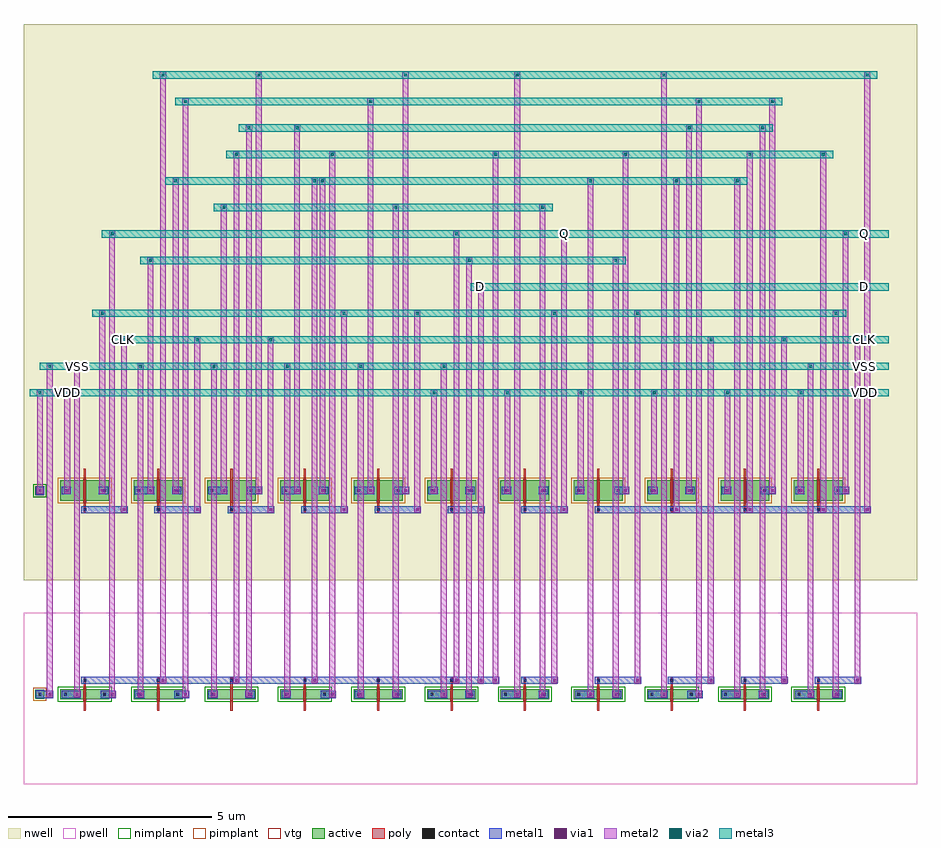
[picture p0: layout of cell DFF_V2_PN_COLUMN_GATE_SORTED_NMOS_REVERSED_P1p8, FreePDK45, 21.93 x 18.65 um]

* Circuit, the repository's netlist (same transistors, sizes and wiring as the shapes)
* cell DFF_V2_PN_COLUMN_GATE_SORTED_NMOS_REVERSED_P1p8
* pin D,Q
* pin CLK
* pin VDD
* pin VSS
.SUBCKT DFF_V2_PN_COLUMN_GATE_SORTED_NMOS_REVERSED_P1p8 4 5 8 9
* net 4 D,Q
* net 5 CLK
* net 8 VDD
* net 9 VSS
* device instance $1 r0 *1 19.2,7 PMOS_VTG
M$1 4 4 8 8 PMOS_VTG L=0.05U W=1U AS=0.575P AD=0.575P PS=4.3U PD=4.3U
* device instance $2 r0 *1 17.4,7 PMOS_VTG
M$2 1 4 8 8 PMOS_VTG L=0.05U W=0.5U AS=0.2875P AD=0.2875P PS=2.15U PD=2.15U
* device instance $3 r0 *1 15.6,7 PMOS_VTG
M$3 2 4 8 8 PMOS_VTG L=0.05U W=0.5U AS=0.2875P AD=0.2875P PS=2.15U PD=2.15U
* device instance $5 r0 *1 12,7 PMOS_VTG
M$5 7 4 8 8 PMOS_VTG L=0.05U W=0.5U AS=0.2875P AD=0.2875P PS=2.15U PD=2.15U
* device instance $6 r0 *1 1.2,7 PMOS_VTG
M$6 6 5 8 8 PMOS_VTG L=0.05U W=0.5U AS=0.2875P AD=0.2875P PS=2.15U PD=2.15U
* device instance $7 r0 *1 10.2,7 PMOS_VTG
M$7 3 4 8 8 PMOS_VTG L=0.05U W=0.5U AS=0.2875P AD=0.2875P PS=2.15U PD=2.15U
* device instance $8 r0 *1 3,7 PMOS_VTG
M$8 4 5 3 8 PMOS_VTG L=0.05U W=0.5U AS=0.2875P AD=0.2875P PS=2.15U PD=2.15U
* device instance $9 r0 *1 4.8,7 PMOS_VTG
M$9 4 5 7 8 PMOS_VTG L=0.05U W=0.5U AS=0.2875P AD=0.2875P PS=2.15U PD=2.15U
* device instance $10 r0 *1 6.6,7 PMOS_VTG
M$10 4 6 2 8 PMOS_VTG L=0.05U W=0.5U AS=0.2875P AD=0.2875P PS=2.15U PD=2.15U
* device instance $11 r0 *1 8.4,7 PMOS_VTG
M$11 4 6 1 8 PMOS_VTG L=0.05U W=0.5U AS=0.2875P AD=0.2875P PS=2.15U PD=2.15U
* device instance $12 r0 *1 19.2,2 NMOS_VTG
M$12 6 5 9 9 NMOS_VTG L=0.05U W=0.25U AS=0.14375P AD=0.14375P PS=1.65U PD=1.65U
* device instance $13 r0 *1 15.6,2 NMOS_VTG
M$13 1 5 4 9 NMOS_VTG L=0.05U W=0.25U AS=0.14375P AD=0.14375P PS=1.65U PD=1.65U
* device instance $14 r0 *1 13.8,2 NMOS_VTG
M$14 3 6 4 9 NMOS_VTG L=0.05U W=0.25U AS=0.14375P AD=0.14375P PS=1.65U PD=1.65U
* device instance $15 r0 *1 12,2 NMOS_VTG
M$15 7 6 4 9 NMOS_VTG L=0.05U W=0.25U AS=0.14375P AD=0.14375P PS=1.65U PD=1.65U
* device instance $16 r0 *1 1.2,2 NMOS_VTG
M$16 4 4 9 9 NMOS_VTG L=0.05U W=0.5U AS=0.2875P AD=0.2875P PS=3.3U PD=3.3U
* device instance $17 r0 *1 17.4,2 NMOS_VTG
M$17 2 5 4 9 NMOS_VTG L=0.05U W=0.25U AS=0.14375P AD=0.14375P PS=1.65U PD=1.65U
* device instance $19 r0 *1 3,2 NMOS_VTG
M$19 1 4 9 9 NMOS_VTG L=0.05U W=0.25U AS=0.14375P AD=0.14375P PS=1.65U PD=1.65U
* device instance $20 r0 *1 10.2,2 NMOS_VTG
M$20 3 4 9 9 NMOS_VTG L=0.05U W=0.25U AS=0.14375P AD=0.14375P PS=1.65U PD=1.65U
* device instance $21 r0 *1 4.8,2 NMOS_VTG
M$21 2 4 9 9 NMOS_VTG L=0.05U W=0.25U AS=0.14375P AD=0.14375P PS=1.65U PD=1.65U
* device instance $22 r0 *1 8.4,2 NMOS_VTG
M$22 7 4 9 9 NMOS_VTG L=0.05U W=0.25U AS=0.14375P AD=0.14375P PS=1.65U PD=1.65U
.ENDS DFF_V2_PN_COLUMN_GATE_SORTED_NMOS_REVERSED_P1p8

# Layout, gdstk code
import gdstk
lib = gdstk.Library(unit=1e-6, precision=5e-10)
def R(c, l, rs):  # rectangles x0, y0, x1, y1
    for r in rs: c.add(gdstk.rectangle(r[:2], r[2:], *l))
def A(c, l, x, y, w, h, nx, ny, dx, dy):  # array of equal rectangles
    R(c, l, [(x+i*dx, y+j*dy, x+i*dx+w, y+j*dy+h) for i in range(nx) for j in range(ny)])
active = (1, 0)
pwell = (2, 0)
nwell = (3, 0)
nimplant = (4, 0)
pimplant = (5, 0)
vtg = (6, 0)
poly = (9, 0)
contact = (10, 0)
metal1 = (11, 0)
via1 = (12, 0)
metal2 = (13, 0)
via2 = (14, 0)
metal3 = (15, 0)

dff_v2_pn_column_gate_so = lib.new_cell('DFF_V2_PN_COLUMN_GATE_SORTED_NMOS_REVERSED_P1p8')
A(dff_v2_pn_column_gate_so, active, 0.6, 1.875, 1.2, 0.25, 11, 1, 1.8, 0)
A(dff_v2_pn_column_gate_so, active, 0.6, 6.75, 1.2, 0.5, 11, 1, 1.8, 0)
R(dff_v2_pn_column_gate_so, active, [(-0.01,1.89,0.21,2.11), (-0.01,6.89,0.21,7.11)])
R(dff_v2_pn_column_gate_so, pwell, [(-0.3,-0.2,21.63,4)])
R(dff_v2_pn_column_gate_so, nwell, [(-0.3,4.8,21.63,18.45)])
A(dff_v2_pn_column_gate_so, nimplant, 0.54, 1.815, 1.32, 0.37, 11, 1, 1.8, 0)
R(dff_v2_pn_column_gate_so, nimplant, [(-0.06,6.84,0.26,7.16)])
A(dff_v2_pn_column_gate_so, pimplant, 0.54, 6.69, 1.32, 0.62, 11, 1, 1.8, 0)
R(dff_v2_pn_column_gate_so, pimplant, [(-0.06,1.84,0.26,2.16)])
A(dff_v2_pn_column_gate_so, vtg, 1.165, 1.845, 0.07, 0.31, 11, 1, 1.8, 0)
A(dff_v2_pn_column_gate_so, vtg, 1.165, 6.72, 0.07, 0.56, 11, 1, 1.8, 0)
A(dff_v2_pn_column_gate_so, poly, 1.175, 1.595, 0.05, 0.81, 11, 1, 1.8, 0)
A(dff_v2_pn_column_gate_so, poly, 1.175, 6.47, 0.05, 1.06, 11, 1, 1.8, 0)
A(dff_v2_pn_column_gate_so, contact, 1.17, 2.315, 0.065, 0.065, 11, 2, 1.8, 4.185)
R(dff_v2_pn_column_gate_so, contact, [(0.07,1.97,0.135,2.035), (0.69,1.97,0.755,2.035), (1.65,1.97,1.715,2.035), (2.49,1.97,2.555,2.035), (3.45,1.97,3.515,2.035), (4.29,1.97,4.355,2.035), (5.25,1.97,5.315,2.035), (6.09,1.97,6.155,2.035), (7.05,1.97,7.115,2.035), (7.89,1.97,7.955,2.035), (8.85,1.97,8.915,2.035), (9.69,1.97,9.755,2.035), (10.65,1.97,10.715,2.035), (11.49,1.97,11.555,2.035), (12.45,1.97,12.515,2.035), (13.29,1.97,13.355,2.035), (14.25,1.97,14.315,2.035), (15.09,1.97,15.155,2.035), (16.05,1.97,16.115,2.035), (16.89,1.97,16.955,2.035), (17.85,1.97,17.915,2.035), (18.69,1.97,18.755,2.035), (19.65,1.97,19.715,2.035), (0.07,6.97,0.135,7.035), (0.69,6.97,0.755,7.035), (1.65,6.97,1.715,7.035), (2.49,6.97,2.555,7.035), (3.45,6.97,3.515,7.035), (4.29,6.97,4.355,7.035), (5.25,6.97,5.315,7.035), (6.09,6.97,6.155,7.035), (7.05,6.97,7.115,7.035), (7.89,6.97,7.955,7.035), (8.85,6.97,8.915,7.035), (9.69,6.97,9.755,7.035), (10.65,6.97,10.715,7.035), (11.49,6.97,11.555,7.035), (12.45,6.97,12.515,7.035), (13.29,6.97,13.355,7.035), (14.25,6.97,14.315,7.035), (15.09,6.97,15.155,7.035), (16.05,6.97,16.115,7.035), (16.89,6.97,16.955,7.035), (17.85,6.97,17.915,7.035), (18.69,6.97,18.755,7.035), (19.65,6.97,19.715,7.035)])
A(dff_v2_pn_column_gate_so, metal1, 9.77, 1.91, 0.24, 0.18, 4, 1, 1.8, 0)
A(dff_v2_pn_column_gate_so, metal1, 11.19, 2.255, 0.18, 0.18, 3, 1, 0.72, 0)
A(dff_v2_pn_column_gate_so, metal1, 13.8, 2.255, 0.96, 0.18, 4, 1, 1.8, 0)
A(dff_v2_pn_column_gate_so, metal1, 1.2, 6.44, 0.96, 0.18, 5, 1, 1.8, 0)
A(dff_v2_pn_column_gate_so, metal1, 13.8, 6.44, 1.92, 0.18, 3, 1, 1.8, 0)
R(dff_v2_pn_column_gate_so, metal1, [(0,1.9,0.2,2.1), (0.1,1.91,0.34,2.09), (0.1,1.91,0.34,2.09), (0.1,1.91,0.34,2.09), (0.1,1.91,0.34,2.09), (0.1,1.91,0.34,2.09), (0.1,1.91,0.34,2.09), (0.1,1.91,0.34,2.09), (0.1,1.91,0.34,2.09), (0.1,1.91,0.34,2.09), (0.1,1.91,0.34,2.09), (0.1,1.91,0.34,2.09), (0.1,1.91,0.34,2.09), (0.25,1.91,0.43,2.09), (0.25,1.91,0.43,2.09), (0.25,1.91,0.43,2.09), (0.25,1.91,0.43,2.09), (0.25,1.91,0.43,2.09), (0.25,1.91,0.43,2.09), (0.25,1.91,0.43,2.09), (0.25,1.91,0.43,2.09), (0.25,1.91,0.43,2.09), (0.25,1.91,0.43,2.09), (0.25,1.91,0.43,2.09), (0.25,1.91,0.43,2.09), (0.63,1.91,0.81,2.09), (0.77,1.91,1.01,2.09), (0.92,1.91,1.1,2.09), (1.59,1.91,1.77,2.09), (1.63,1.91,1.87,2.09), (1.78,1.91,1.96,2.09), (2.43,1.91,2.61,2.09), (2.48,1.91,2.66,2.09), (3.39,1.91,3.57,2.09), (3.43,1.91,3.67,2.09), (3.58,1.91,3.76,2.09), (4.23,1.91,4.41,2.09), (4.28,1.91,4.46,2.09), (5.14,1.91,5.32,2.09), (5.19,1.91,5.37,2.09), (6.03,1.91,6.21,2.09), (6.08,1.91,6.26,2.09), (6.99,1.91,7.17,2.09), (7.03,1.91,7.27,2.09), (7.18,1.91,7.36,2.09), (7.83,1.91,8.01,2.09), (7.88,1.91,8.06,2.09), (8.74,1.91,8.92,2.09), (8.79,1.91,8.97,2.09), (9.63,1.91,9.81,2.09), (9.92,1.91,10.1,2.09), (10.54,1.91,10.72,2.09), (10.59,1.91,10.77,2.09), (11.43,1.91,11.61,2.09), (11.72,1.91,11.9,2.09), (12.34,1.91,12.52,2.09), (12.39,1.91,12.57,2.09), (13.23,1.91,13.41,2.09), (13.52,1.91,13.7,2.09), (14.14,1.91,14.32,2.09), (14.19,1.91,14.37,2.09), (15.03,1.91,15.21,2.09), (15.32,1.91,15.5,2.09), (15.99,1.91,16.17,2.09), (16.03,1.91,16.27,2.09), (16.18,1.91,16.36,2.09), (16.83,1.91,17.01,2.09), (16.97,1.91,17.21,2.09), (17.12,1.91,17.3,2.09), (17.74,1.91,17.92,2.09), (17.79,1.91,17.97,2.09), (18.63,1.91,18.81,2.09), (18.77,1.91,19.01,2.09), (18.92,1.91,19.1,2.09), (19.54,1.91,19.72,2.09), (19.59,1.91,19.77,2.09), (1.11,2.255,1.29,2.435), (1.2,2.255,3.12,2.435), (2.91,2.255,3.09,2.435), (3,2.255,4.92,2.435), (3.03,2.255,3.21,2.435), (4.71,2.255,4.89,2.435), (4.8,2.255,11.28,2.435), (4.83,2.255,5.01,2.435), (6.51,2.255,6.69,2.435), (6.6,2.255,6.84,2.435), (6.75,2.255,6.93,2.435), (8.31,2.255,8.49,2.435), (8.4,2.255,10.32,2.435), (10.11,2.255,10.29,2.435), (10.2,2.255,10.92,2.435), (10.23,2.255,10.41,2.435), (10.83,2.255,11.01,2.435), (12,2.255,12.72,2.435), (13.71,2.255,13.89,2.435), (14.67,2.255,14.85,2.435), (15.51,2.255,15.69,2.435), (16.47,2.255,16.65,2.435), (17.31,2.255,17.49,2.435), (18.27,2.255,18.45,2.435), (19.11,2.255,19.29,2.435), (20.07,2.255,20.25,2.435), (1.11,6.44,1.29,6.62), (2.07,6.44,2.25,6.62), (2.91,6.44,3.09,6.62), (3.87,6.44,4.05,6.62), (4.71,6.44,4.89,6.62), (5.67,6.44,5.85,6.62), (6.51,6.44,6.69,6.62), (7.47,6.44,7.65,6.62), (8.31,6.44,8.49,6.62), (9.27,6.44,9.45,6.62), (10.11,6.44,10.29,6.62), (10.2,6.44,10.92,6.62), (10.83,6.44,11.01,6.62), (11.91,6.44,12.09,6.62), (12,6.44,12.96,6.62), (12.87,6.44,13.05,6.62), (13.71,6.44,13.89,6.62), (15.51,6.44,15.69,6.62), (15.63,6.44,15.81,6.62), (17.31,6.44,17.49,6.62), (17.43,6.44,17.61,6.62), (19.11,6.44,19.29,6.62), (19.2,6.44,20.4,6.62), (19.23,6.44,19.41,6.62), (20.31,6.44,20.49,6.62), (0,6.9,0.2,7.1), (0.01,6.91,0.19,7.09), (0.01,6.91,0.19,7.09), (0.01,6.91,0.19,7.09), (0.01,6.91,0.19,7.09), (0.01,6.91,0.19,7.09), (0.01,6.91,0.19,7.09), (0.01,6.91,0.19,7.09), (0.01,6.91,0.19,7.09), (0.01,6.91,0.19,7.09), (0.01,6.91,0.19,7.09), (0.01,6.91,0.19,7.09), (0.01,6.91,0.19,7.09), (0.63,6.91,0.81,7.09), (0.68,6.91,0.86,7.09), (1.54,6.91,1.72,7.09), (1.59,6.91,1.77,7.09), (2.43,6.91,2.61,7.09), (2.57,6.91,2.81,7.09), (2.72,6.91,2.9,7.09), (3.34,6.91,3.52,7.09), (3.39,6.91,3.57,7.09), (4.23,6.91,4.41,7.09), (4.37,6.91,4.61,7.09), (4.52,6.91,4.7,7.09), (5.19,6.91,5.37,7.09), (5.23,6.91,5.47,7.09), (5.38,6.91,5.56,7.09), (6.03,6.91,6.21,7.09), (6.17,6.91,6.41,7.09), (6.32,6.91,6.5,7.09), (6.94,6.91,7.12,7.09), (6.99,6.91,7.17,7.09), (7.83,6.91,8.01,7.09), (7.97,6.91,8.21,7.09), (8.12,6.91,8.3,7.09), (8.79,6.91,8.97,7.09), (8.83,6.91,9.07,7.09), (8.98,6.91,9.16,7.09), (9.63,6.91,9.81,7.09), (9.68,6.91,9.86,7.09), (10.54,6.91,10.72,7.09), (10.59,6.91,10.77,7.09), (11.43,6.91,11.61,7.09), (11.48,6.91,11.66,7.09), (12.34,6.91,12.52,7.09), (12.39,6.91,12.57,7.09), (13.23,6.91,13.41,7.09), (13.28,6.91,13.46,7.09), (14.19,6.91,14.37,7.09), (14.23,6.91,14.47,7.09), (14.38,6.91,14.56,7.09), (15.03,6.91,15.21,7.09), (15.08,6.91,15.26,7.09), (15.94,6.91,16.12,7.09), (15.99,6.91,16.17,7.09), (16.83,6.91,17.01,7.09), (16.88,6.91,17.06,7.09), (17.79,6.91,17.97,7.09), (17.83,6.91,18.07,7.09), (17.98,6.91,18.16,7.09), (18.63,6.91,18.81,7.09), (18.68,6.91,18.86,7.09), (19.59,6.91,19.77,7.09), (19.63,6.91,19.87,7.09), (19.78,6.91,19.96,7.09)])
A(dff_v2_pn_column_gate_so, via1, 14.73, 2.315, 0.065, 0.065, 4, 1, 1.8, 0)
A(dff_v2_pn_column_gate_so, via1, 2.13, 6.5, 0.065, 0.065, 5, 1, 1.8, 0)
A(dff_v2_pn_column_gate_so, via1, 15.69, 6.5, 0.065, 0.065, 3, 1, 1.8, 0)
R(dff_v2_pn_column_gate_so, via1, [(0.31,1.97,0.375,2.035), (0.31,1.97,0.375,2.035), (0.31,1.97,0.375,2.035), (0.31,1.97,0.375,2.035), (0.31,1.97,0.375,2.035), (0.31,1.97,0.375,2.035), (0.31,1.97,0.375,2.035), (0.31,1.97,0.375,2.035), (0.31,1.97,0.375,2.035), (0.31,1.97,0.375,2.035), (0.31,1.97,0.375,2.035), (0.31,1.97,0.375,2.035), (0.98,1.97,1.045,2.035), (1.84,1.97,1.905,2.035), (2.54,1.97,2.605,2.035), (3.64,1.97,3.705,2.035), (4.34,1.97,4.405,2.035), (5.2,1.97,5.265,2.035), (6.14,1.97,6.205,2.035), (7.24,1.97,7.305,2.035), (7.94,1.97,8.005,2.035), (8.8,1.97,8.865,2.035), (9.98,1.97,10.045,2.035), (10.6,1.97,10.665,2.035), (11.78,1.97,11.845,2.035), (12.4,1.97,12.465,2.035), (13.58,1.97,13.645,2.035), (14.2,1.97,14.265,2.035), (15.38,1.97,15.445,2.035), (16.24,1.97,16.305,2.035), (17.18,1.97,17.245,2.035), (17.8,1.97,17.865,2.035), (18.98,1.97,19.045,2.035), (19.6,1.97,19.665,2.035), (3.09,2.315,3.155,2.38), (4.89,2.315,4.955,2.38), (6.81,2.315,6.875,2.38), (10.29,2.315,10.355,2.38), (10.89,2.315,10.955,2.38), (11.25,2.315,11.315,2.38), (12.69,2.315,12.755,2.38), (10.89,6.5,10.955,6.565), (12.93,6.5,12.995,6.565), (20.37,6.5,20.435,6.565), (0.07,6.97,0.135,7.035), (0.07,6.97,0.135,7.035), (0.07,6.97,0.135,7.035), (0.07,6.97,0.135,7.035), (0.07,6.97,0.135,7.035), (0.07,6.97,0.135,7.035), (0.07,6.97,0.135,7.035), (0.07,6.97,0.135,7.035), (0.07,6.97,0.135,7.035), (0.07,6.97,0.135,7.035), (0.07,6.97,0.135,7.035), (0.07,6.97,0.135,7.035), (0.74,6.97,0.805,7.035), (1.6,6.97,1.665,7.035), (2.78,6.97,2.845,7.035), (3.4,6.97,3.465,7.035), (4.58,6.97,4.645,7.035), (5.44,6.97,5.505,7.035), (6.38,6.97,6.445,7.035), (7,6.97,7.065,7.035), (8.18,6.97,8.245,7.035), (9.04,6.97,9.105,7.035), (9.74,6.97,9.805,7.035), (10.6,6.97,10.665,7.035), (11.54,6.97,11.605,7.035), (12.4,6.97,12.465,7.035), (13.34,6.97,13.405,7.035), (14.44,6.97,14.505,7.035), (15.14,6.97,15.205,7.035), (16,6.97,16.065,7.035), (16.94,6.97,17.005,7.035), (18.04,6.97,18.105,7.035), (18.74,6.97,18.805,7.035), (19.84,6.97,19.905,7.035)])
A(dff_v2_pn_column_gate_so, metal2, 2.5, 2, 0.14, 8.05, 4, 1, 1.8, 0)
A(dff_v2_pn_column_gate_so, metal2, 14.685, 2.27, 0.15, 0.15, 4, 1, 1.8, 0)
A(dff_v2_pn_column_gate_so, metal2, 16.49, 2.345, 0.14, 8.355, 3, 1, 1.8, 0)
A(dff_v2_pn_column_gate_so, metal2, 2.085, 6.455, 0.15, 0.15, 5, 1, 1.8, 0)
A(dff_v2_pn_column_gate_so, metal2, 15.645, 6.455, 0.15, 0.15, 3, 1, 1.8, 0)
A(dff_v2_pn_column_gate_so, metal2, 2.09, 6.53, 0.14, 4.17, 3, 1, 1.8, 0)
A(dff_v2_pn_column_gate_so, metal2, 9.7, 7, 0.14, 2.4, 6, 1, 1.8, 0)
A(dff_v2_pn_column_gate_so, metal2, 9.695, 9.325, 0.15, 0.15, 6, 1, 1.8, 0)
A(dff_v2_pn_column_gate_so, metal2, 2.495, 9.975, 0.15, 0.15, 4, 1, 1.8, 0)
A(dff_v2_pn_column_gate_so, metal2, 2.085, 10.625, 0.15, 0.15, 3, 1, 1.8, 0)
A(dff_v2_pn_column_gate_so, metal2, 16.485, 10.625, 0.15, 0.15, 3, 1, 1.8, 0)
R(dff_v2_pn_column_gate_so, metal2, [(0.265,1.925,0.415,2.075), (0.265,1.925,0.415,2.075), (0.265,1.925,0.415,2.075), (0.265,1.925,0.415,2.075), (0.265,1.925,0.415,2.075), (0.265,1.925,0.415,2.075), (0.265,1.925,0.415,2.075), (0.265,1.925,0.415,2.075), (0.265,1.925,0.415,2.075), (0.265,1.925,0.415,2.075), (0.265,1.925,0.415,2.075), (0.265,1.925,0.415,2.075), (0.935,1.925,1.085,2.075), (1.795,1.925,1.945,2.075), (2.495,1.925,2.645,2.075), (3.595,1.925,3.745,2.075), (4.295,1.925,4.445,2.075), (5.155,1.925,5.305,2.075), (6.095,1.925,6.245,2.075), (7.195,1.925,7.345,2.075), (7.895,1.925,8.045,2.075), (8.755,1.925,8.905,2.075), (9.935,1.925,10.085,2.075), (10.555,1.925,10.705,2.075), (11.735,1.925,11.885,2.075), (12.355,1.925,12.505,2.075), (13.535,1.925,13.685,2.075), (14.155,1.925,14.305,2.075), (15.335,1.925,15.485,2.075), (16.195,1.925,16.345,2.075), (17.135,1.925,17.285,2.075), (17.755,1.925,17.905,2.075), (18.935,1.925,19.085,2.075), (19.555,1.925,19.705,2.075), (0.27,2,0.41,10.05), (0.27,2,0.41,10.05), (0.27,2,0.41,10.05), (0.27,2,0.41,10.05), (0.27,2,0.41,10.05), (0.27,2,0.41,10.05), (0.27,2,0.41,10.05), (0.27,2,0.41,10.05), (0.27,2,0.41,10.05), (0.27,2,0.41,10.05), (0.27,2,0.41,10.05), (0.27,2,0.41,10.05), (0.94,2,1.08,10.05), (1.8,2,1.94,13.3), (3.6,2,3.74,16.55), (5.16,2,5.3,15.9), (7.2,2,7.34,15.25), (8.76,2,8.9,13.95), (9.94,2,10.08,10.05), (10.56,2,10.7,12.65), (11.74,2,11.88,17.2), (12.36,2,12.5,13.95), (13.54,2,13.68,14.6), (14.16,2,14.3,12.65), (15.34,2,15.48,17.2), (16.2,2,16.34,16.55), (17.14,2,17.28,14.6), (17.76,2,17.9,15.9), (18.94,2,19.08,10.05), (19.56,2,19.7,11.35), (3.045,2.27,3.195,2.42), (4.845,2.27,4.995,2.42), (6.765,2.27,6.915,2.42), (10.245,2.27,10.395,2.42), (10.845,2.27,10.995,2.42), (11.205,2.27,11.355,2.42), (12.645,2.27,12.795,2.42), (3.05,2.345,3.19,17.2), (4.85,2.345,4.99,15.25), (6.77,2.345,6.91,14.6), (10.25,2.345,10.39,13.3), (10.85,2.345,10.99,12), (11.21,2.345,11.35,15.25), (12.65,2.345,12.79,11.35), (14.69,2.345,14.83,11.35), (10.845,6.455,10.995,6.605), (12.885,6.455,13.035,6.605), (20.325,6.455,20.475,6.605), (7.49,6.53,7.63,11.35), (9.29,6.53,9.43,11.35), (10.85,6.53,10.99,12), (12.89,6.53,13.03,13.3), (15.65,6.53,15.79,14.6), (17.45,6.53,17.59,15.25), (19.25,6.53,19.39,15.25), (20.33,6.53,20.47,17.2), (0.025,6.925,0.175,7.075), (0.025,6.925,0.175,7.075), (0.025,6.925,0.175,7.075), (0.025,6.925,0.175,7.075), (0.025,6.925,0.175,7.075), (0.025,6.925,0.175,7.075), (0.025,6.925,0.175,7.075), (0.025,6.925,0.175,7.075), (0.025,6.925,0.175,7.075), (0.025,6.925,0.175,7.075), (0.025,6.925,0.175,7.075), (0.025,6.925,0.175,7.075), (0.695,6.925,0.845,7.075), (1.555,6.925,1.705,7.075), (2.735,6.925,2.885,7.075), (3.355,6.925,3.505,7.075), (4.535,6.925,4.685,7.075), (5.395,6.925,5.545,7.075), (6.335,6.925,6.485,7.075), (6.955,6.925,7.105,7.075), (8.135,6.925,8.285,7.075), (8.995,6.925,9.145,7.075), (9.695,6.925,9.845,7.075), (10.555,6.925,10.705,7.075), (11.495,6.925,11.645,7.075), (12.355,6.925,12.505,7.075), (13.295,6.925,13.445,7.075), (14.395,6.925,14.545,7.075), (15.095,6.925,15.245,7.075), (15.955,6.925,16.105,7.075), (16.895,6.925,17.045,7.075), (17.995,6.925,18.145,7.075), (18.695,6.925,18.845,7.075), (19.795,6.925,19.945,7.075), (0.03,7,0.17,9.4), (0.03,7,0.17,9.4), (0.03,7,0.17,9.4), (0.03,7,0.17,9.4), (0.03,7,0.17,9.4), (0.03,7,0.17,9.4), (0.03,7,0.17,9.4), (0.03,7,0.17,9.4), (0.03,7,0.17,9.4), (0.03,7,0.17,9.4), (0.03,7,0.17,9.4), (0.03,7,0.17,9.4), (0.7,7,0.84,9.4), (1.56,7,1.7,11.35), (2.74,7,2.88,12.65), (3.36,7,3.5,14.6), (4.54,7,4.68,13.95), (5.4,7,5.54,17.2), (6.34,7,6.48,15.9), (6.96,7,7.1,14.6), (8.14,7,8.28,16.55), (9,7,9.14,17.2), (10.56,7,10.7,12.65), (12.36,7,12.5,13.95), (14.4,7,14.54,15.25), (15.96,7,16.1,15.9), (18,7,18.14,16.55), (19.8,7,19.94,13.3), (0.025,9.325,0.175,9.475), (0.025,9.325,0.175,9.475), (0.025,9.325,0.175,9.475), (0.025,9.325,0.175,9.475), (0.025,9.325,0.175,9.475), (0.025,9.325,0.175,9.475), (0.025,9.325,0.175,9.475), (0.025,9.325,0.175,9.475), (0.025,9.325,0.175,9.475), (0.025,9.325,0.175,9.475), (0.025,9.325,0.175,9.475), (0.025,9.325,0.175,9.475), (0.695,9.325,0.845,9.475), (0.265,9.975,0.415,10.125), (0.265,9.975,0.415,10.125), (0.265,9.975,0.415,10.125), (0.265,9.975,0.415,10.125), (0.265,9.975,0.415,10.125), (0.265,9.975,0.415,10.125), (0.265,9.975,0.415,10.125), (0.265,9.975,0.415,10.125), (0.265,9.975,0.415,10.125), (0.265,9.975,0.415,10.125), (0.265,9.975,0.415,10.125), (0.265,9.975,0.415,10.125), (0.935,9.975,1.085,10.125), (9.935,9.975,10.085,10.125), (18.935,9.975,19.085,10.125), (1.555,11.275,1.705,11.425), (7.485,11.275,7.635,11.425), (9.285,11.275,9.435,11.425), (12.645,11.275,12.795,11.425), (14.685,11.275,14.835,11.425), (19.555,11.275,19.705,11.425), (10.845,11.925,10.995,12.075), (10.845,11.925,10.995,12.075), (2.735,12.575,2.885,12.725), (10.555,12.575,10.705,12.725), (10.555,12.575,10.705,12.725), (14.155,12.575,14.305,12.725), (1.795,13.225,1.945,13.375), (10.245,13.225,10.395,13.375), (12.885,13.225,13.035,13.375), (19.795,13.225,19.945,13.375), (4.535,13.875,4.685,14.025), (8.755,13.875,8.905,14.025), (12.355,13.875,12.505,14.025), (12.355,13.875,12.505,14.025), (3.355,14.525,3.505,14.675), (6.765,14.525,6.915,14.675), (6.955,14.525,7.105,14.675), (13.535,14.525,13.685,14.675), (15.645,14.525,15.795,14.675), (17.135,14.525,17.285,14.675), (4.845,15.175,4.995,15.325), (7.195,15.175,7.345,15.325), (11.205,15.175,11.355,15.325), (14.395,15.175,14.545,15.325), (17.445,15.175,17.595,15.325), (19.245,15.175,19.395,15.325), (5.155,15.825,5.305,15.975), (6.335,15.825,6.485,15.975), (15.955,15.825,16.105,15.975), (17.755,15.825,17.905,15.975), (3.595,16.475,3.745,16.625), (8.135,16.475,8.285,16.625), (16.195,16.475,16.345,16.625), (17.995,16.475,18.145,16.625), (3.045,17.125,3.195,17.275), (5.395,17.125,5.545,17.275), (8.995,17.125,9.145,17.275), (11.735,17.125,11.885,17.275), (15.335,17.125,15.485,17.275), (20.325,17.125,20.475,17.275)])
A(dff_v2_pn_column_gate_so, via2, 9.74, 9.37, 0.065, 0.065, 6, 1, 1.8, 0)
A(dff_v2_pn_column_gate_so, via2, 2.54, 10.02, 0.065, 0.065, 4, 1, 1.8, 0)
A(dff_v2_pn_column_gate_so, via2, 2.13, 10.67, 0.065, 0.065, 3, 1, 1.8, 0)
A(dff_v2_pn_column_gate_so, via2, 16.53, 10.67, 0.065, 0.065, 3, 1, 1.8, 0)
R(dff_v2_pn_column_gate_so, via2, [(0.07,9.37,0.135,9.435), (0.07,9.37,0.135,9.435), (0.07,9.37,0.135,9.435), (0.07,9.37,0.135,9.435), (0.07,9.37,0.135,9.435), (0.07,9.37,0.135,9.435), (0.07,9.37,0.135,9.435), (0.07,9.37,0.135,9.435), (0.07,9.37,0.135,9.435), (0.07,9.37,0.135,9.435), (0.07,9.37,0.135,9.435), (0.07,9.37,0.135,9.435), (0.74,9.37,0.805,9.435), (0.31,10.02,0.375,10.085), (0.31,10.02,0.375,10.085), (0.31,10.02,0.375,10.085), (0.31,10.02,0.375,10.085), (0.31,10.02,0.375,10.085), (0.31,10.02,0.375,10.085), (0.31,10.02,0.375,10.085), (0.31,10.02,0.375,10.085), (0.31,10.02,0.375,10.085), (0.31,10.02,0.375,10.085), (0.31,10.02,0.375,10.085), (0.31,10.02,0.375,10.085), (0.98,10.02,1.045,10.085), (9.98,10.02,10.045,10.085), (18.98,10.02,19.045,10.085), (1.6,11.32,1.665,11.385), (7.53,11.32,7.595,11.385), (9.33,11.32,9.395,11.385), (12.69,11.32,12.755,11.385), (14.73,11.32,14.795,11.385), (19.6,11.32,19.665,11.385), (10.89,11.97,10.955,12.035), (10.89,11.97,10.955,12.035), (2.78,12.62,2.845,12.685), (10.6,12.62,10.665,12.685), (10.6,12.62,10.665,12.685), (14.2,12.62,14.265,12.685), (1.84,13.27,1.905,13.335), (10.29,13.27,10.355,13.335), (12.93,13.27,12.995,13.335), (19.84,13.27,19.905,13.335), (4.58,13.92,4.645,13.985), (8.8,13.92,8.865,13.985), (12.4,13.92,12.465,13.985), (12.4,13.92,12.465,13.985), (3.4,14.57,3.465,14.635), (6.81,14.57,6.875,14.635), (7,14.57,7.065,14.635), (13.58,14.57,13.645,14.635), (15.69,14.57,15.755,14.635), (17.18,14.57,17.245,14.635), (4.89,15.22,4.955,15.285), (7.24,15.22,7.305,15.285), (11.25,15.22,11.315,15.285), (14.44,15.22,14.505,15.285), (17.49,15.22,17.555,15.285), (19.29,15.22,19.355,15.285), (5.2,15.87,5.265,15.935), (6.38,15.87,6.445,15.935), (16,15.87,16.065,15.935), (17.8,15.87,17.865,15.935), (3.64,16.52,3.705,16.585), (8.18,16.52,8.245,16.585), (16.24,16.52,16.305,16.585), (18.04,16.52,18.105,16.585), (3.09,17.17,3.155,17.235), (5.44,17.17,5.505,17.235), (9.04,17.17,9.105,17.235), (11.78,17.17,11.845,17.235), (15.38,17.17,15.445,17.235), (20.37,17.17,20.435,17.235)])
A(dff_v2_pn_column_gate_so, metal3, 9.695, 9.325, 0.15, 0.15, 6, 1, 1.8, 0)
A(dff_v2_pn_column_gate_so, metal3, 2.495, 9.975, 0.15, 0.15, 4, 1, 1.8, 0)
A(dff_v2_pn_column_gate_so, metal3, 2.085, 10.625, 0.15, 0.15, 3, 1, 1.8, 0)
A(dff_v2_pn_column_gate_so, metal3, 16.485, 10.625, 0.15, 0.15, 3, 1, 1.8, 0)
R(dff_v2_pn_column_gate_so, metal3, [(-0.15,9.31,19.02,9.49), (19.02,9.31,20.93,9.49), (0.025,9.325,0.175,9.475), (0.025,9.325,0.175,9.475), (0.025,9.325,0.175,9.475), (0.025,9.325,0.175,9.475), (0.025,9.325,0.175,9.475), (0.025,9.325,0.175,9.475), (0.025,9.325,0.175,9.475), (0.025,9.325,0.175,9.475), (0.025,9.325,0.175,9.475), (0.025,9.325,0.175,9.475), (0.025,9.325,0.175,9.475), (0.025,9.325,0.175,9.475), (0.695,9.325,0.845,9.475), (0.09,9.96,19.26,10.14), (19.26,9.96,20.93,10.14), (0.265,9.975,0.415,10.125), (0.265,9.975,0.415,10.125), (0.265,9.975,0.415,10.125), (0.265,9.975,0.415,10.125), (0.265,9.975,0.415,10.125), (0.265,9.975,0.415,10.125), (0.265,9.975,0.415,10.125), (0.265,9.975,0.415,10.125), (0.265,9.975,0.415,10.125), (0.265,9.975,0.415,10.125), (0.265,9.975,0.415,10.125), (0.265,9.975,0.415,10.125), (0.935,9.975,1.085,10.125), (9.935,9.975,10.085,10.125), (18.935,9.975,19.085,10.125), (1.91,10.61,20.41,10.79), (20.41,10.61,20.93,10.79), (1.38,11.26,19.88,11.44), (1.555,11.275,1.705,11.425), (7.485,11.275,7.635,11.425), (9.285,11.275,9.435,11.425), (12.645,11.275,12.795,11.425), (14.685,11.275,14.835,11.425), (19.555,11.275,19.705,11.425), (10.67,11.91,11.17,12.09), (11.17,11.91,20.93,12.09), (10.845,11.925,10.995,12.075), (10.845,11.925,10.995,12.075), (2.56,12.56,14.48,12.74), (2.735,12.575,2.885,12.725), (10.555,12.575,10.705,12.725), (10.555,12.575,10.705,12.725), (14.155,12.575,14.305,12.725), (1.62,13.21,20.12,13.39), (20.12,13.21,20.93,13.39), (1.795,13.225,1.945,13.375), (10.245,13.225,10.395,13.375), (12.885,13.225,13.035,13.375), (19.795,13.225,19.945,13.375), (4.36,13.86,12.68,14.04), (4.535,13.875,4.685,14.025), (8.755,13.875,8.905,14.025), (12.355,13.875,12.505,14.025), (12.355,13.875,12.505,14.025), (3.18,14.51,17.46,14.69), (3.355,14.525,3.505,14.675), (6.765,14.525,6.915,14.675), (6.955,14.525,7.105,14.675), (13.535,14.525,13.685,14.675), (15.645,14.525,15.795,14.675), (17.135,14.525,17.285,14.675), (4.67,15.16,19.57,15.34), (4.845,15.175,4.995,15.325), (7.195,15.175,7.345,15.325), (11.205,15.175,11.355,15.325), (14.395,15.175,14.545,15.325), (17.445,15.175,17.595,15.325), (19.245,15.175,19.395,15.325), (4.98,15.81,18.08,15.99), (5.155,15.825,5.305,15.975), (6.335,15.825,6.485,15.975), (15.955,15.825,16.105,15.975), (17.755,15.825,17.905,15.975), (3.42,16.46,18.32,16.64), (3.595,16.475,3.745,16.625), (8.135,16.475,8.285,16.625), (16.195,16.475,16.345,16.625), (17.995,16.475,18.145,16.625), (2.87,17.11,20.65,17.29), (3.045,17.125,3.195,17.275), (5.395,17.125,5.545,17.275), (8.995,17.125,9.145,17.275), (11.735,17.125,11.885,17.275), (15.335,17.125,15.485,17.275), (20.325,17.125,20.475,17.275)])
dff_v2_pn_column_gate_so.add(gdstk.Label('VDD', (20.33,9.4), layer=15, texttype=0))
dff_v2_pn_column_gate_so.add(gdstk.Label('VDD', (20.33,9.4), layer=15, texttype=1))
dff_v2_pn_column_gate_so.add(gdstk.Label('VDD', (20.33,9.4), layer=15, texttype=2))
dff_v2_pn_column_gate_so.add(gdstk.Label('VDD', (0.77,9.4), layer=13, texttype=0))
dff_v2_pn_column_gate_so.add(gdstk.Label('VDD', (0.77,9.4), layer=13, texttype=1))
dff_v2_pn_column_gate_so.add(gdstk.Label('VDD', (0.77,9.4), layer=13, texttype=2))
dff_v2_pn_column_gate_so.add(gdstk.Label('VSS', (20.33,10.05), layer=15, texttype=0))
dff_v2_pn_column_gate_so.add(gdstk.Label('VSS', (20.33,10.05), layer=15, texttype=1))
dff_v2_pn_column_gate_so.add(gdstk.Label('VSS', (20.33,10.05), layer=15, texttype=2))
dff_v2_pn_column_gate_so.add(gdstk.Label('VSS', (1.01,10.05), layer=13, texttype=0))
dff_v2_pn_column_gate_so.add(gdstk.Label('VSS', (1.01,10.05), layer=13, texttype=1))
dff_v2_pn_column_gate_so.add(gdstk.Label('VSS', (1.01,10.05), layer=13, texttype=2))
dff_v2_pn_column_gate_so.add(gdstk.Label('D', (20.33,12), layer=15, texttype=0))
dff_v2_pn_column_gate_so.add(gdstk.Label('D', (20.33,12), layer=15, texttype=1))
dff_v2_pn_column_gate_so.add(gdstk.Label('D', (20.33,12), layer=15, texttype=2))
dff_v2_pn_column_gate_so.add(gdstk.Label('D', (10.92,12), layer=13, texttype=0))
dff_v2_pn_column_gate_so.add(gdstk.Label('D', (10.92,12), layer=13, texttype=1))
dff_v2_pn_column_gate_so.add(gdstk.Label('D', (10.92,12), layer=13, texttype=2))
dff_v2_pn_column_gate_so.add(gdstk.Label('Q', (20.33,13.3), layer=15, texttype=0))
dff_v2_pn_column_gate_so.add(gdstk.Label('Q', (20.33,13.3), layer=15, texttype=1))
dff_v2_pn_column_gate_so.add(gdstk.Label('Q', (20.33,13.3), layer=15, texttype=2))
dff_v2_pn_column_gate_so.add(gdstk.Label('Q', (12.96,13.3), layer=13, texttype=0))
dff_v2_pn_column_gate_so.add(gdstk.Label('Q', (12.96,13.3), layer=13, texttype=1))
dff_v2_pn_column_gate_so.add(gdstk.Label('Q', (12.96,13.3), layer=13, texttype=2))
dff_v2_pn_column_gate_so.add(gdstk.Label('CLK', (20.33,10.7), layer=15, texttype=0))
dff_v2_pn_column_gate_so.add(gdstk.Label('CLK', (20.33,10.7), layer=15, texttype=1))
dff_v2_pn_column_gate_so.add(gdstk.Label('CLK', (20.33,10.7), layer=15, texttype=2))
dff_v2_pn_column_gate_so.add(gdstk.Label('CLK', (2.16,10.7), layer=13, texttype=0))
dff_v2_pn_column_gate_so.add(gdstk.Label('CLK', (2.16,10.7), layer=13, texttype=1))
dff_v2_pn_column_gate_so.add(gdstk.Label('CLK', (2.16,10.7), layer=13, texttype=2))

lib.write_gds('DFF_V2_PN_COLUMN_GATE_SORTED_NMOS_REVERSED_P1p8.gds')
